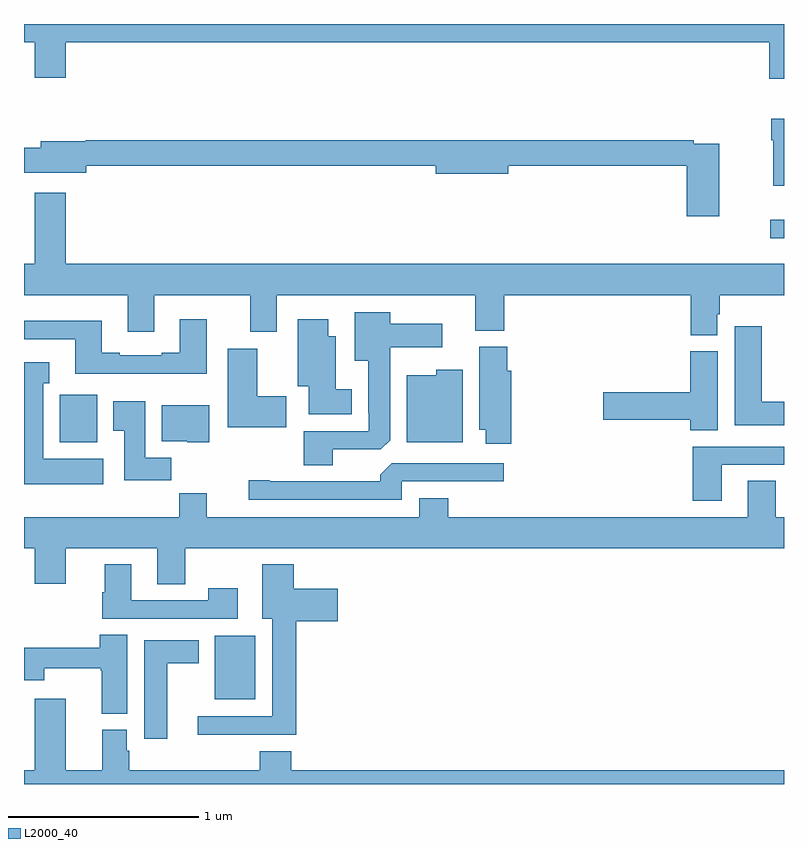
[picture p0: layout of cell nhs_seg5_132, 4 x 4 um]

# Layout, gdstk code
import gdstk
lib = gdstk.Library(unit=1e-6, precision=1e-09)
def R(c, l, rs):  # rectangles x0, y0, x1, y1
    for r in rs: c.add(gdstk.rectangle(r[:2], r[2:], *l))
def P(c, l, *ps):  # polygons
    for p in ps: c.add(gdstk.Polygon(p, *l))
L2000_40 = (2000, 40)

nhs_seg5_132 = lib.new_cell('nhs_seg5_132')
R(nhs_seg5_132, L2000_40, [(118.004,909.245,118.216,909.58), (117.189,910.598,117.385,910.848), (120.927,911.672,121,911.769)])
P(nhs_seg5_132, L2000_40, [(121,912.799),(117,912.799),(117,912.704),(117.056,912.704),(117.056,912.516),(117.22,912.516),(117.22,912.704),(120.923,912.704),(120.923,912.51),(121,912.51)],
  [(121,912.301),(120.932,912.301),(120.932,912.188),(120.944,912.188),(120.944,911.948),(121,911.948)],
  [(120.658,912.168),(120.524,912.168),(120.524,912.188),(117.324,912.188),(117.324,912.181),(117.089,912.181),(117.089,912.147),(117,912.147),(117,912.017),(117.328,912.017),(117.328,912.052),(119.168,912.052),(119.168,912.01),(119.548,912.01),(119.548,912.052),(120.488,912.052),(120.488,911.787),(120.658,911.787)],
  [(120.649,911.271),(120.662,911.271),(120.662,911.372),(121,911.372),(121,911.536),(117.22,911.536),(117.22,911.911),(117.056,911.911),(117.056,911.536),(117,911.536),(117,911.372),(117.545,911.372),(117.545,911.178),(117.685,911.178),(117.685,911.372),(118.19,911.372),(118.19,911.178),(118.33,911.178),(118.33,911.372),(119.375,911.372),(119.375,911.185),(119.528,911.185),(119.528,911.372),(120.509,911.372),(120.509,911.161),(120.649,911.161)],
  [(118.624,910.56),(118.878,910.56),(118.927,910.609),(118.927,911.099),(119.2,911.099),(119.2,911.221),(118.927,911.221),(118.927,911.281),(118.742,911.281),(118.742,911.027),(118.811,911.027),(118.811,910.753),(118.815,910.753),(118.815,910.656),(118.472,910.656),(118.472,910.477),(118.624,910.477)],
  [(117.961,911.245),(117.821,911.245),(117.821,911.068),(117.725,911.068),(117.725,911.055),(117.505,911.055),(117.505,911.068),(117.409,911.068),(117.409,911.236),(117,911.236),(117,911.139),(117.269,911.139),(117.269,910.958),(117.961,910.958)],
  [(118.726,910.876),(118.642,910.876),(118.642,911.155),(118.6,911.155),(118.6,911.245),(118.442,911.245),(118.442,910.892),(118.499,910.892),(118.499,910.745),(118.726,910.745)],
  [(121,910.81),(120.883,910.81),(120.883,911.209),(120.74,911.209),(120.74,910.688),(121,910.688)],
  [(119.564,910.974),(119.543,910.974),(119.543,911.1),(119.396,911.1),(119.396,910.664),(119.429,910.664),(119.429,910.59),(119.564,910.59)],
  [(118.381,910.839),(118.228,910.839),(118.228,911.089),(118.073,911.089),(118.073,910.676),(118.381,910.676)],
  [(120.652,911.076),(120.506,911.076),(120.506,910.862),(120.048,910.862),(120.048,910.715),(120.506,910.715),(120.506,910.66),(120.652,910.66)],
  [(117.418,910.51),(117.1,910.51),(117.1,910.907),(117.133,910.907),(117.133,911.02),(117,911.02),(117,910.376),(117.418,910.376)],
  [(119.308,910.978),(119.169,910.978),(119.169,910.951),(119.015,910.951),(119.015,910.598),(119.308,910.598)],
  [(117.776,910.516),(117.637,910.516),(117.637,910.813),(117.47,910.813),(117.47,910.657),(117.527,910.657),(117.527,910.398),(117.776,910.398)],
  [(117.976,910.792),(117.725,910.792),(117.725,910.604),(117.858,910.604),(117.858,910.598),(117.976,910.598)],
  [(120.673,910.479),(121,910.479),(121,910.575),(120.521,910.575),(120.521,910.29),(120.673,910.29)],
  [(118.989,910.392),(119.524,910.392),(119.524,910.488),(118.935,910.488),(118.874,910.426),(118.874,910.392),(118.294,910.392),(118.294,910.397),(118.182,910.397),(118.182,910.296),(118.989,910.296)],
  [(117.849,910.04),(121,910.04),(121,910.204),(120.957,910.204),(120.957,910.394),(120.809,910.394),(120.809,910.204),(119.234,910.204),(119.234,910.303),(119.081,910.303),(119.081,910.204),(117.961,910.204),(117.961,910.328),(117.817,910.328),(117.817,910.204),(117,910.204),(117,910.04),(117.056,910.04),(117.056,909.852),(117.22,909.852),(117.22,910.04),(117.701,910.04),(117.701,909.85),(117.849,909.85)],
  [(118.433,909.656),(118.651,909.656),(118.651,909.826),(118.42,909.826),(118.42,909.955),(118.253,909.955),(118.253,909.668),(118.307,909.668),(118.307,909.156),(117.915,909.156),(117.915,909.059),(118.433,909.059)],
  [(118.126,909.829),(117.97,909.829),(117.97,909.765),(117.565,909.765),(117.565,909.955),(117.425,909.955),(117.425,909.807),(117.413,909.807),(117.413,909.669),(118.126,909.669)],
  [(117.544,909.584),(117.398,909.584),(117.398,909.517),(117,909.517),(117,909.346),(117.106,909.346),(117.106,909.407),(117.403,909.407),(117.403,909.396),(117.41,909.396),(117.41,909.169),(117.544,909.169)],
  [(117.754,909.434),(117.919,909.434),(117.919,909.556),(117.632,909.556),(117.632,909.036),(117.754,909.036)],
  [(121,908.872),(118.406,908.872),(118.406,908.971),(118.241,908.971),(118.241,908.872),(117.554,908.872),(117.554,908.973),(117.541,908.973),(117.541,909.084),(117.413,909.084),(117.413,908.872),(117.22,908.872),(117.22,909.247),(117.056,909.247),(117.056,908.872),(117,908.872),(117,908.799),(121,908.799)])

lib.write_gds('nhs_seg5_132.gds')
